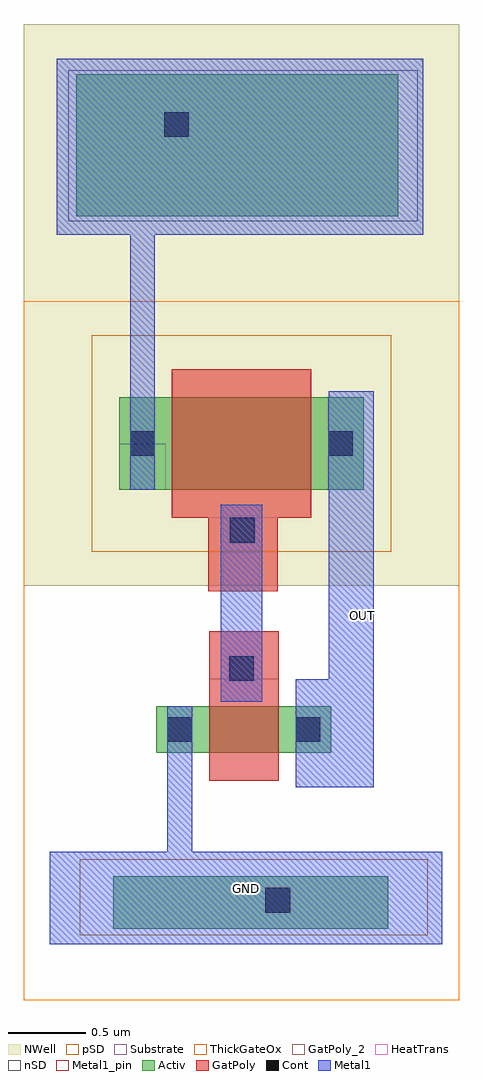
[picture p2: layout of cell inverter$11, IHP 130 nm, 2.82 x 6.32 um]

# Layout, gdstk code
from math import pi, radians
import gdstk
lib = gdstk.Library(unit=1e-6, precision=1e-09)
def R(c, l, rs):  # rectangles x0, y0, x1, y1
    for r in rs: c.add(gdstk.rectangle(r[:2], r[2:], *l))
def P(c, l, *ps):  # polygons
    for p in ps: c.add(gdstk.Polygon(p, *l))
Activ = (1, 0)
GatPoly = (5, 0)
GatPoly_2 = (5, 2)
Cont = (6, 0)
nSD = (7, 0)
Metal1 = (8, 0)
Metal1_pin = (8, 2)
pSD = (14, 0)
NWell = (31, 0)
Substrate = (40, 0)
ThickGateOx = (44, 0)
HeatTrans = (51, 0)

pmoshv_15 = lib.new_cell('pmosHV$15')
R(pmoshv_15, Activ, [(2.06,-0.235,3.64,0.365), (2.06,-0.235,2.36,0.065), (3.34,-0.235,3.64,0.065)])
R(pmoshv_15, GatPoly, [(2.4,-0.415,3.3,0.545)])
R(pmoshv_15, GatPoly_2, [(2.4,-0.415,3.3,0.545)])
R(pmoshv_15, Cont, [(2.13,-0.015,2.29,0.145), (3.41,-0.015,3.57,0.145)])
R(pmoshv_15, Metal1, [(2.13,-0.235,2.29,0.365), (3.41,-0.235,3.57,0.365)])
R(pmoshv_15, Metal1_pin, [(2.13,-0.235,2.29,0.365), (3.41,-0.235,3.57,0.365)])
R(pmoshv_15, pSD, [(1.88,-0.635,3.82,0.765)])
R(pmoshv_15, NWell, [(1.44,-0.855,4.26,0.985)])
R(pmoshv_15, Substrate, [(2.06,-0.235,2.36,0.065)])
R(pmoshv_15, ThickGateOx, [(1.44,-0.855,4.26,0.985)])
R(pmoshv_15, HeatTrans, [(2.4,-0.415,3.3,0.545)])
pmoshv_15.add(gdstk.Label('pmosHV', (2.85,0.065), layer=63, texttype=0))
pmoshv_15.add(gdstk.Label('pmos', (2.85,0.065), layer=51, texttype=0))

nmoshv_13 = lib.new_cell('nmosHV$13')
R(nmoshv_13, Activ, [(-2.09,-0.235,-0.96,0.065), (-2.09,-0.235,-1.79,0.065), (-1.26,-0.235,-0.96,0.065)])
R(nmoshv_13, GatPoly, [(-1.75,-0.415,-1.3,0.245)])
R(nmoshv_13, GatPoly_2, [(-1.75,-0.415,-1.3,0.245)])
R(nmoshv_13, Cont, [(-2.02,-0.165,-1.86,-0.005), (-1.19,-0.165,-1.03,-0.005)])
R(nmoshv_13, Metal1, [(-2.02,-0.235,-1.86,0.065), (-1.19,-0.235,-1.03,0.065)])
R(nmoshv_13, Metal1_pin, [(-2.02,-0.235,-1.86,0.065), (-1.19,-0.235,-1.03,0.065)])
R(nmoshv_13, ThickGateOx, [(-2.36,-0.755,-0.69,0.585)])
R(nmoshv_13, HeatTrans, [(-1.75,-0.415,-1.3,0.245)])
nmoshv_13.add(gdstk.Label('nmosHV', (-1.525,-0.085), layer=63, texttype=0))
nmoshv_13.add(gdstk.Label('nmosHV', (-1.525,-0.085), layer=51, texttype=0))

inverter_11 = lib.new_cell('inverter$11')
R(inverter_11, Activ, [(2.925,-0.795,4.705,-0.455), (2.685,3.815,4.77,4.735)])
R(inverter_11, GatPoly, [(3.545,0.825,3.995,1.13), (3.54,1.39,3.99,1.92), (3.59,1.55,3.95,1.865)])
R(inverter_11, Cont, [(3.91,-0.69,4.07,-0.53), (3.675,0.81,3.835,0.97), (3.68,1.705,3.84,1.865), (3.255,4.33,3.415,4.49)])
R(inverter_11, nSD, [(2.635,3.785,4.895,4.76)])
R(inverter_11, Metal1, [(3.62,0.675,3.89,1.95)])
P(inverter_11, Metal1, [(3.035,2.045),(3.035,3.695),(2.56,3.695),(2.56,4.835),(4.93,4.835),(4.93,3.695),(3.195,3.695),(3.195,2.045)],
  [(2.515,-0.895),(2.515,-0.295),(3.275,-0.295),(3.275,0.645),(3.435,0.645),(3.435,-0.295),(5.055,-0.295),(5.055,-0.895)],
  [(4.105,0.12),(4.105,0.82),(4.32,0.82),(4.32,2.685),(4.61,2.685),(4.61,0.12)])
R(inverter_11, Metal1_pin, [(3.62,0.675,3.89,1.95)])
P(inverter_11, Metal1_pin, [(2.515,-0.895),(2.515,-0.295),(3.275,-0.295),(3.275,0.645),(3.435,0.645),(3.435,-0.295),(5.055,-0.295),(5.055,-0.895)],
  [(3.035,2.045),(3.035,3.695),(2.56,3.695),(2.56,4.835),(4.93,4.835),(4.93,3.695),(3.195,3.695),(3.195,2.045)],
  [(4.105,0.12),(4.105,0.82),(4.32,0.82),(4.32,2.685),(4.61,2.685),(4.61,0.12)])
R(inverter_11, pSD, [(2.71,-0.835,4.96,-0.345)])
R(inverter_11, NWell, [(2.345,3.265,5.165,5.06)])
R(inverter_11, ThickGateOx, [(2.345,-1.255,5.165,1.425)])
inverter_11.add(gdstk.Reference(pmoshv_15, (0.905,2.28)))
inverter_11.add(gdstk.Reference(nmoshv_13, (2.245,0.58), rotation=pi, x_reflection=True))
inverter_11.add(gdstk.Label('GND', (3.79,-0.535), layer=8, texttype=25))
inverter_11.add(gdstk.Label('OUT', (4.535,1.235), layer=8, texttype=25))

lib.write_gds('inverter_11.gds')
